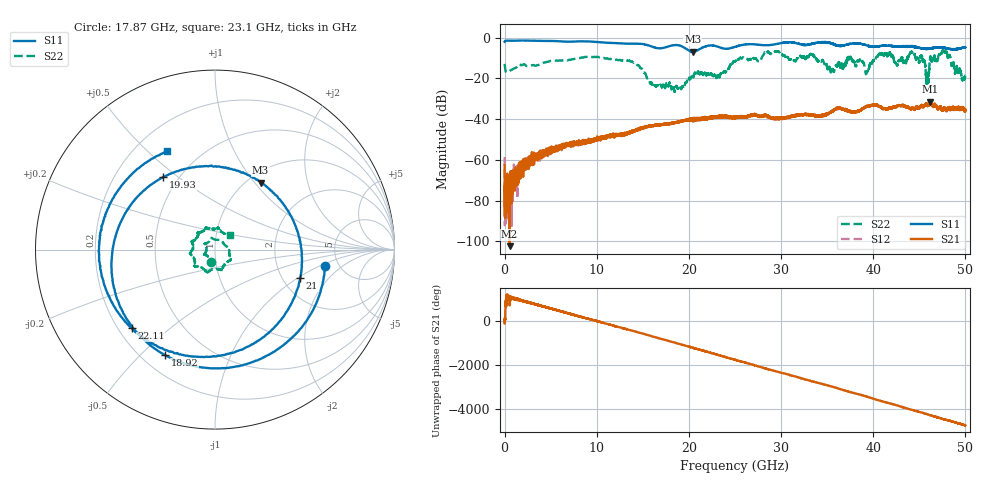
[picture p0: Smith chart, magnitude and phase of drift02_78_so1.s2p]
!Created with skrf (http://scikit-rf.org).
# Hz S RI R 50.0
!freq ReS11 ImS11 ReS21 ImS21 ReS12 ImS12 ReS22 ImS22
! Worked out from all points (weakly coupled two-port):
!   10001 points, 300 kHz to 50 GHz, reference 50 ohm
!   highest |S21| = -31.40 dB at 46.19 GHz (marker M1); lowest = -102.4 dB at 540.3 MHz (marker M2)
!   lowest |S11| = -6.9 dB at 20.43 GHz (marker M3), VSWR 2.64, Z = 57.3 + j53.6 ohm
!   |S11| at or under -10 dB: nowhere
!   |S22| runs from -26.6 to -6.1 dB; largest |S21 - S12| = 0.0036
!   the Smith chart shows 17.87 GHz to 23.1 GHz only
!   S11 on the Smith chart (normalised r, x): 17.87 GHz: 3.91, -1.12; 18.92 GHz: 0.29, -0.59; 19.93 GHz: 0.41, +0.44; 21 GHz: 2.48, -1.06; 22.11 GHz: 0.25, -0.37; 23.1 GHz: 0.33, +0.58
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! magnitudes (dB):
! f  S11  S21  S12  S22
! 300 kHz  -2.1  -62.6  -58.6  -12.8
! 540.3 MHz  -1.5  -102.4  -76.4  -16.3
! 3.13 GHz  -1.4  -59.2  -58.3  -13.4
! 8.335 GHz  -1.7  -51.7  -51.6  -9.7
! 13.71 GHz  -3.0  -46.5  -46.4  -11.7
! 16.67 GHz  -5.2  -42.9  -42.9  -23.7
! 17.87 GHz  -4.2  -42.1  -42.1  -22.6
! 18.92 GHz  -3.7  -41.1  -41.3  -23.6
! 19.93 GHz  -6.1  -40.3  -40.2  -19.9
! 20.43 GHz  -6.9  -40.1  -39.7  -19.3
! 21 GHz  -6.0  -40.1  -40.2  -16.8
! 22.11 GHz  -3.9  -39.4  -39.3  -17.5
! 23.1 GHz  -4.3  -38.8  -38.7  -18.5
! 25 GHz  -4.5  -38.8  -39.2  -11.6
! 33.34 GHz  -3.0  -37.8  -37.7  -8.3
! 39.33 GHz  -3.8  -33.7  -33.8  -16.7
! 41.67 GHz  -3.9  -34.6  -34.8  -7.7
! 44.27 GHz  -4.2  -34.5  -34.5  -7.3
! 45.85 GHz  -5.4  -33.1  -32.9  -18.7
! 46.19 GHz  -5.3  -31.4  -32.0  -10.2
! 47.75 GHz  -5.0  -34.4  -34.3  -7.0
! 50 GHz  -4.7  -35.5  -35.9  -18.5
